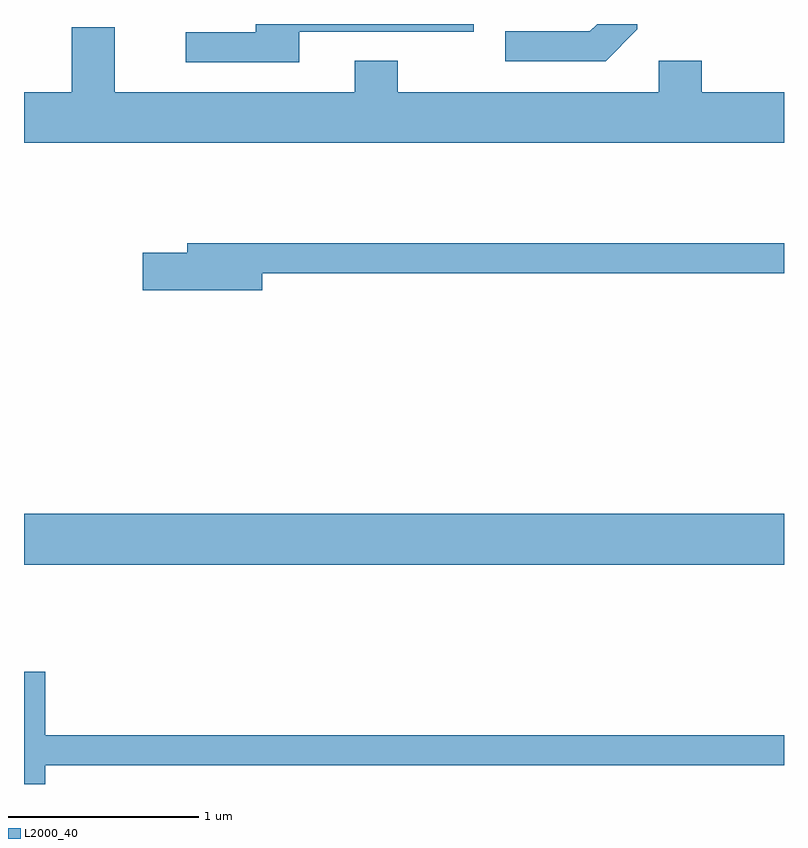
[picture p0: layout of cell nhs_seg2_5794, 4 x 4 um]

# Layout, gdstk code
import gdstk
lib = gdstk.Library(unit=1e-6, precision=1e-09)
def R(c, l, rs):  # rectangles x0, y0, x1, y1
    for r in rs: c.add(gdstk.rectangle(r[:2], r[2:], *l))
def P(c, l, *ps):  # polygons
    for p in ps: c.add(gdstk.Polygon(p, *l))
L2000_40 = (2000, 40)

nhs_seg2_5794 = lib.new_cell('nhs_seg2_5794')
R(nhs_seg2_5794, L2000_40, [(355.611,1074.956,359.611,1075.224)])
P(nhs_seg2_5794, L2000_40, [(357.059,1077.761),(357.979,1077.761),(357.979,1077.802),(356.831,1077.802),(356.831,1077.759),(356.463,1077.759),(356.463,1077.601),(357.059,1077.601)],
  [(358.839,1077.774),(358.839,1077.802),(358.627,1077.802),(358.589,1077.764),(358.143,1077.764),(358.143,1077.606),(358.672,1077.606)],
  [(359.611,1077.444),(359.179,1077.444),(359.179,1077.609),(358.951,1077.609),(358.951,1077.444),(357.579,1077.444),(357.579,1077.609),(357.351,1077.609),(357.351,1077.444),(356.089,1077.444),(356.089,1077.784),(355.861,1077.784),(355.861,1077.444),(355.611,1077.444),(355.611,1077.176),(359.611,1077.176)],
  [(356.864,1076.491),(359.611,1076.491),(359.611,1076.649),(356.471,1076.649),(356.471,1076.599),(356.236,1076.599),(356.236,1076.401),(356.864,1076.401)],
  [(355.724,1073.901),(359.611,1073.901),(359.611,1074.059),(355.724,1074.059),(355.724,1074.394),(355.611,1074.394),(355.611,1073.802),(355.724,1073.802)])

lib.write_gds('nhs_seg2_5794.gds')
